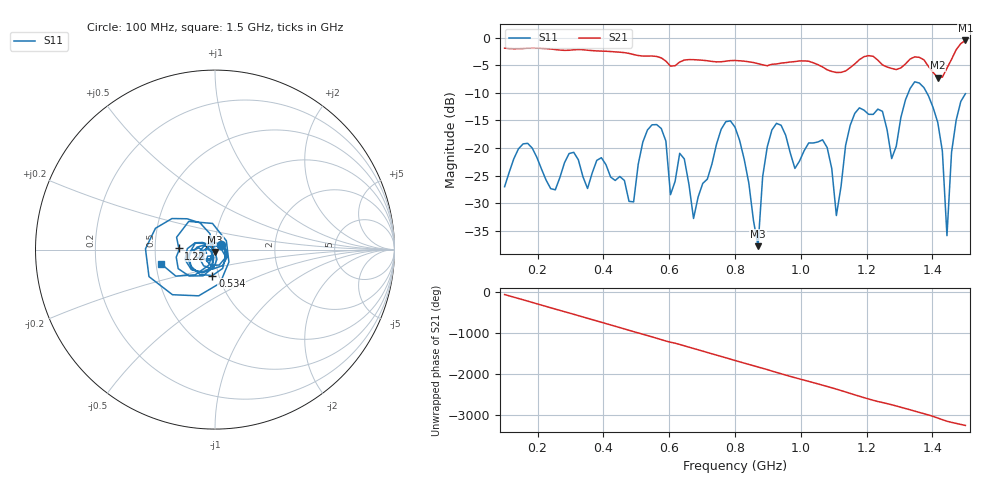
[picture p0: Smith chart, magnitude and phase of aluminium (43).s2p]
! NanoVNA-App
! Date: 2025-09-26 09:58:24
! Start: 100MHz Stop: 1,5GHz Points: 101
! S-Parameter data: F S11 S21 S12 S22
# Hz S RI R 50
!  Frequency  S11_Real  S11_Imag  S21_Real  S21_Imag  S12_Real  S12_Imag  S22_Real  S22_Imag
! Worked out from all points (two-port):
!   101 points, 100 MHz to 1.5 GHz, reference 50 ohm
!   highest |S21| = -0.52 dB at 1.5 GHz (marker M1); lowest = -7.3 dB at 1.416 GHz (marker M2)
!   |S21| within 3 dB of the highest: start of sweep to 567.5 MHz; 1.19 GHz to 1.223 GHz (32.12 MHz wide, 2.66 % of centre) (the widest 2 of 4)
!   lowest |S11| = -37.8 dB at 870 MHz (marker M3), VSWR 1.03, Z = 50 - j1.29 ohm
!   |S11| at or under -10 dB: start of sweep to 1.327 GHz; 1.383 GHz to end of sweep
!   S12 and S22 are empty: the file has one direction only
!   S11 on the Smith chart (normalised r, x): 100 MHz: 1.07, +0.06; 534 MHz: 0.93, -0.28; 1.22 GHz: 0.66, +0.01; 1.5 GHz: 0.53, -0.09
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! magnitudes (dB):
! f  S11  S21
! 100 MHz  -27.0  -1.9
! 156 MHz  -19.3  -2.0
! 338 MHz  -25.2  -2.2
! 492 MHz  -29.8  -3.1
! 534 MHz  -16.7  -3.3
! 576 MHz  -16.5  -3.7
! 604 MHz  -28.5  -5.2
! 632 MHz  -21.0  -4.4
! 674 MHz  -32.8  -4.0
! 800 MHz  -16.2  -4.2
! 870 MHz  -37.8  -4.7
! 912 MHz  -16.8  -4.8
! 1.038 GHz  -19.1  -4.6
! 1.108 GHz  -32.2  -6.3
! 1.15 GHz  -15.9  -5.4
! 1.22 GHz  -13.9  -3.4
! 1.276 GHz  -21.9  -5.6
! 1.346 GHz  -8.0  -3.5
! 1.416 GHz  -15.4  -7.3
! 1.444 GHz  -35.9  -5.6
! 1.458 GHz  -20.8  -3.9
! 1.5 GHz  -10.2  -0.5
